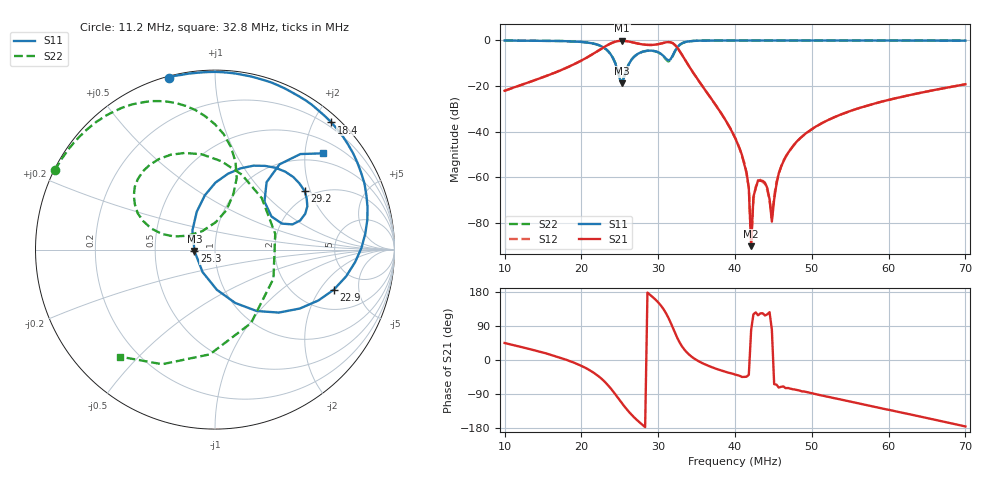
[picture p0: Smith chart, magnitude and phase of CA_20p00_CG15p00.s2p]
#  HZ  S  RI  R  50.00
! Rohde & Schwarz ZVT8 8Ports - Version 4.11 - 1300.0000k08 SN: 100242
! Date: 2026-07-31 14:24:31
! Measurements: S11 S21 S12 S22
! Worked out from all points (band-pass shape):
!   201 points, 10 MHz to 70 MHz, reference 50 ohm
!   highest |S21| = -0.13 dB at 25.3 MHz (marker M1); lowest = -90.3 dB at 42.1 MHz (marker M2)
!   |S21| within 3 dB of the highest: 22.85 MHz to 32.47 MHz (9.625 MHz wide, 34.8 % of centre)
!   lowest |S11| = -18.8 dB at 25.3 MHz (marker M3), VSWR 1.26, Z = 39.7 - j0.611 ohm
!   |S11| at or under -10 dB: 24.41 MHz to 26.24 MHz (1.836 MHz wide, 7.25 % of centre)
!   |S22| runs from -18.1 to 0.0 dB; largest |S21 - S12| = 0.0027
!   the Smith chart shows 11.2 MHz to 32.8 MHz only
!   S11 on the Smith chart (normalised r, x): 11.2 MHz: 0.01, +0.77; 18.4 MHz: 0.12, +2.27; 22.9 MHz: 3.12, -2.72; 25.3 MHz: 0.79, -0.01; 29.2 MHz: 1.80, +1.83; 32.8 MHz: 0.79, +2.39
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1e7  -0.3979 0.9132  0.0558 0.0555  0.0556 0.0556  -0.9157 0.3925
1.12e7  -0.2582 0.9582  0.0721 0.0589  0.0717 0.0586  -0.8921 0.443
1.84e7  0.6484 0.7085  0.2674 -0.0112  0.2665 -0.0106  -0.5979 0.7518
2.02e7  0.8133 0.4306  0.3605 -0.1137  0.3599 -0.1131  -0.4305 0.8151
2.29e7  0.6622 -0.2231  0.4087 -0.576  0.4102 -0.5768  0.000345 0.6975
2.53e7  -0.1144 -0.00758  -0.4106 -0.8955  -0.4086 -0.8944  -0.0716 0.1023
2.71e7  0.1419 0.4525  -0.7983 -0.3563  -0.7982 -0.3547  -0.43 0.2015
2.92e7  0.4988 0.3277  -0.7786 0.1704  -0.7774 0.172  -0.3132 0.5039
3.01e7  0.5028 0.1996  -0.7207 0.4217  -0.7208 0.4201  -0.0756 0.5315
3.16e7  0.2755 0.2672  -0.1501 0.9  -0.1519 0.9005  0.3256 -0.1615
3.28e7  0.5992 0.5362  0.4035 0.4171  0.4041 0.4178  -0.529 -0.5965
3.46e7  0.9611 0.178  0.1906 0.0167  0.1904 0.0172  -0.9771 0.0234
4e7  0.7778 -0.6245  0.00579 -0.00458  0.0058 -0.00449  -0.77 0.6355
4.15e7  0.6466 -0.7604  0.000924 -0.000897  0.000832 -0.000837  -0.7049 0.7057
4.21e7  0.5882 -0.8066  5.83e-06 2.99e-05  3.57e-05 -1.01e-05  -0.6805 0.7299
4.3e7  0.4947 -0.8664  -0.000401 0.000752  -0.000463 0.000625  -0.6436 0.764
4.42e7  0.3662 -0.928  -0.000293 0.000499  -0.000247 0.000463  -0.5939 0.8006
4.48e7  0.2992 -0.9519  1.8e-05 0.000104  -0.000126 -2.86e-05  -0.5716 0.8175
4.6e7  0.1656 -0.9842  0.000558 -0.0016  0.000579 -0.00157  -0.5244 0.8493
5.02e7  -0.3107 -0.9489  0.000262 -0.0119  0.000285 -0.0119  -0.36 0.9301
6.01e7  -0.9845 -0.143  -0.0332 -0.0373  -0.0332 -0.0372  0.0275 0.9955
7e7  -0.5528 0.8221  -0.109 -0.00884  -0.1088 -0.00872  0.4111 0.9021
